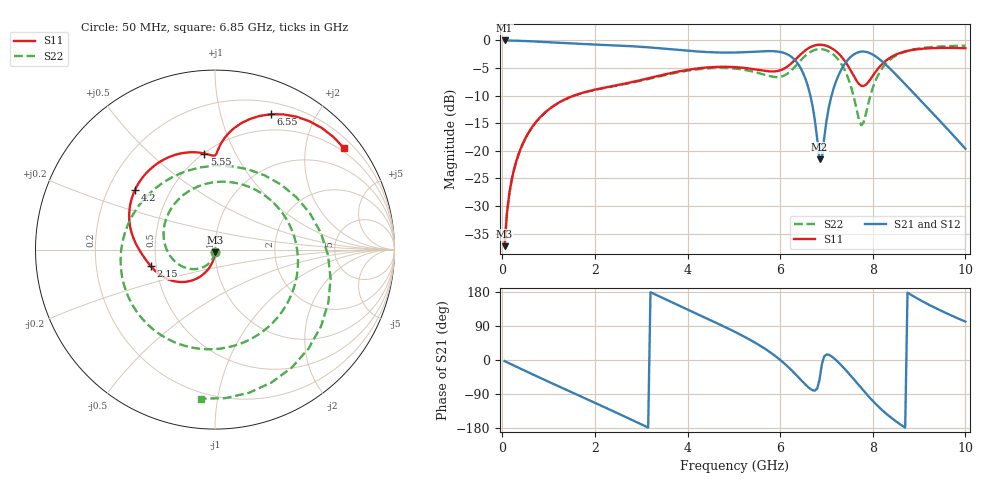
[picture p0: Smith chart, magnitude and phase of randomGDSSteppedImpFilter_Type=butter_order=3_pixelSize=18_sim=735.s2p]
! freq	dB(S11)	phase(S11)	dB(S12)	phase(S12)
!  dB(S21)	phase(S21)	dB(S22)	phase(S22)
!S-par simulation data
#  GHz  S  DB  R 50
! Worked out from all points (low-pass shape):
!   200 points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, 50 MHz to 10 GHz, reference 50 ohm
!   highest |S21| = -0.01 dB at 50 MHz (marker M1); lowest = -21.5 dB at 6.85 GHz (marker M2)
!   |S21| within 3 dB of the highest: start of sweep to 6.248 GHz; 7.522 GHz to 8.082 GHz (559.9 MHz wide, 7.18 % of centre)
!   lowest |S11| = -37.3 dB at 50 MHz (marker M3), VSWR 1.03, Z = 49.9 - j1.37 ohm
!   |S11| at or under -10 dB: start of sweep to 1.547 GHz
!   |S22| runs from -37.3 to -1.0 dB; largest |S21 - S12| = 0
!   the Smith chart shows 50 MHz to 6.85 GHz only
!   S11 on the Smith chart (normalised r, x): 50 MHz: 1.00, -0.03; 2.15 GHz: 0.47, -0.10; 4.2 GHz: 0.31, +0.30; 5.55 GHz: 0.50, +0.76; 6.55 GHz: 0.32, +1.45; 6.85 GHz: 0.41, +2.82
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0.05  -37.26 -91.6  -0.01 -3.0  -0.01 -3.0  -37.27 -93.3
0.2  -25.38 -98.7  -0.03 -11.7  -0.03 -11.7  -25.40 -105.0
0.5  -17.72 -111.5  -0.11 -29.0  -0.11 -29.0  -17.75 -127.5
1.15  -11.62 -136.5  -0.39 -65.8  -0.39 -65.8  -11.65 -176.3
1.75  -9.45 -155.4  -0.65 -99.1  -0.65 -99.1  -9.49 136.1
2.15  -8.65 -165.5  -0.79 -121.3  -0.79 -121.3  -8.71 101.8
3.4  -6.37 167.2  -1.42 167.3  -1.42 167.3  -6.50 -13.3
4.2  -5.09 143.1  -1.99 121.9  -1.99 121.9  -5.25 -79.4
5.05  -4.85 112.6  -2.19 72.6  -2.19 72.6  -5.13 -146.3
5.55  -5.37 96.3  -1.99 39.1  -1.99 39.1  -5.95 163.5
6.1  -5.04 88.1  -2.32 -10.1  -2.32 -10.1  -6.31 67.9
6.35  -3.29 81.1  -3.85 -39.9  -3.85 -39.9  -4.48 9.0
6.55  -1.77 67.5  -7.03 -65.3  -7.03 -65.3  -2.74 -36.0
6.7  -1.04 53.7  -11.90 -79.8  -11.90 -79.8  -1.89 -66.9
6.85  -0.78 38.4  -21.50 -52.5  -21.50 -52.5  -1.58 -95.2
7.2  -1.92 2.9  -7.57 0.5  -7.57 0.5  -2.95 -154.9
7.55  -5.84 -21.9  -2.79 -45.0  -2.79 -45.0  -8.96 136.8
7.75  -8.21 -15.7  -2.03 -73.8  -2.03 -73.8  -15.37 49.9
7.9  -7.59 -6.2  -2.18 -94.8  -2.18 -94.8  -11.56 -27.2
8.35  -3.26 -25.5  -4.94 -147.7  -4.94 -147.7  -3.65 -105.2
9.15  -1.46 -87.0  -11.91 149.8  -11.91 149.8  -1.29 -167.8
10  -1.42 -147.7  -19.61 101.3  -19.61 101.3  -0.96 146.5
